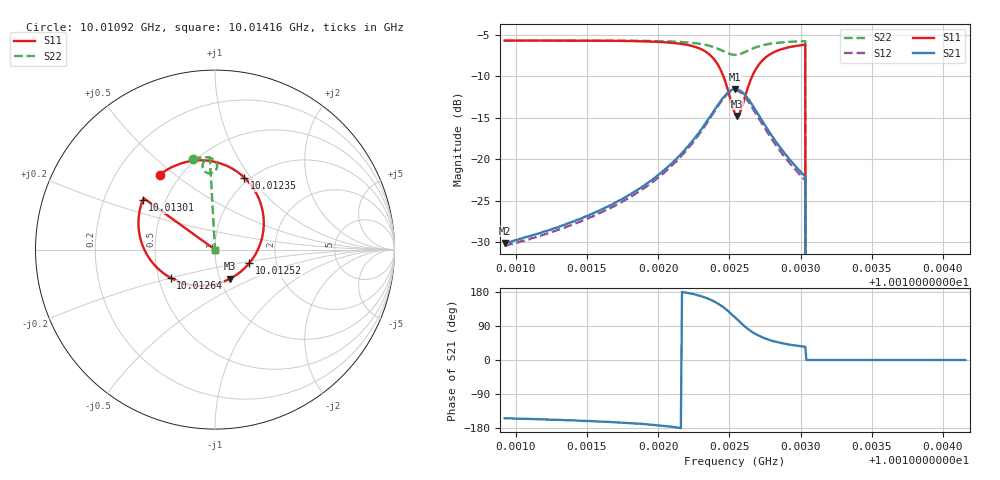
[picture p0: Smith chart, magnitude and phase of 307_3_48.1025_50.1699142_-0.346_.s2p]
#  HZ  S  RI  R  50.00
! Rohde & Schwarz Vector Network Analyzer
! Rohde-Schwarz,ZNB20-2Port,1311601062101988,3.16
! Created: UTC 12/23/2023, 4:05:23 AM
! freq[Hz]  re:S11  im:S11  re:S21  im:S21  re:S12  im:S12  re:S22  im:S22
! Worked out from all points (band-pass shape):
!   401 points, 10.01092 GHz to 10.01416 GHz, reference 50 ohm
!   highest |S21| = -11.53 dB at 10.01254 GHz (marker M1); lowest = -30.1 dB at 10.01092 GHz (marker M2)
!   |S21| within 3 dB of the highest: 10.01238 GHz to 10.0127 GHz (323.4 kHz wide, 0.00323 % of centre)
!   lowest |S11| = -14.8 dB at 10.01256 GHz (marker M3), VSWR 1.45, Z = 55.7 - j18.7 ohm
!   |S11| at or under -10 dB: 10.01246 GHz to 10.01266 GHz (202.1 kHz wide, 0.00202 % of centre); 10.01303 GHz to end of sweep
!   |S22| runs from - to -5.7 dB; largest |S21 - S12| = 0.012
!   S11 on the Smith chart (normalised r, x): 10.01092 GHz: 0.39, +0.44; 10.01235 GHz: 0.95, +0.93; 10.01252 GHz: 1.45, -0.23; 10.01264 GHz: 0.58, -0.20; 10.01301 GHz: 0.37, +0.27; 10.01416 GHz: 1.00, +0.00
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1.0010922e10  -0.3076 0.4183  -0.0281 -0.0138  -0.0261 -0.0146  -0.1239 0.5049
1.0011464e10  -0.2487 0.4554  -0.0416 -0.0148  -0.0391 -0.0165  -0.0855 0.5126
1.0012006e10  -0.1203 0.4951  -0.0804 -0.0106  -0.0768 -0.0147  -0.0385 0.5137
1.0012232e10  0.0221 0.4829  -0.1257 0.0101  -0.1227 0.00276  -0.0102 0.5038
1.0012354e10  0.1639 0.4004  -0.1661 0.0553  -0.165 0.0453  0.00732 0.4847
1.001241e10  0.2372 0.2997  -0.1808 0.1007  -0.1828 0.0885  0.0119 0.4673
1.0012459e10  0.2717 0.1604  -0.1786 0.1542  -0.1829 0.1443  0.00791 0.4478
1.0012491e10  0.2557 0.0426  -0.16 0.1958  -0.1651 0.1873  -0.00143 0.4351
1.0012524e10  0.1912 -0.0755  -0.1233 0.2326  -0.1299 0.2247  -0.0165 0.4265
1.001254e10  0.1414 -0.1246  -0.0997 0.2456  -0.1072 0.2377  -0.0252 0.4248
1.0012556e10  0.0825 -0.1627  -0.0742 0.2534  -0.0808 0.2461  -0.0345 0.4251
1.0012596e10  -0.0823 -0.2014  -0.0106 0.2509  -0.0161 0.244  -0.0541 0.4338
1.0012645e10  -0.2478 -0.1571  0.047 0.2183  0.0402 0.2112  -0.067 0.4527
1.0012701e10  -0.3624 -0.0541  0.0784 0.17  0.0706 0.1646  -0.0686 0.4733
1.0012766e10  -0.4144 0.0566  0.0882 0.1247  0.0796 0.1218  -0.0623 0.4895
1.0012871e10  -0.4248 0.1826  0.0813 0.079  0.0742 0.0781  -0.0483 0.5046
1.0013009e10  -0.4025 0.2755  0.0668 0.0486  0.0613 0.0491  -0.0314 0.5135
1.0013017e10  -0.401 0.2793  0.0663 0.0474  0.0605 0.0478  -0.0306 0.5139
1.0013057e10  0 0  0 0  0 0  0 0
1.0013082e10  0 0  0 0  0 0  0 0
1.0013624e10  0 0  0 0  0 0  0 0
1.0014157e10  0 0  0 0  0 0  0 0
